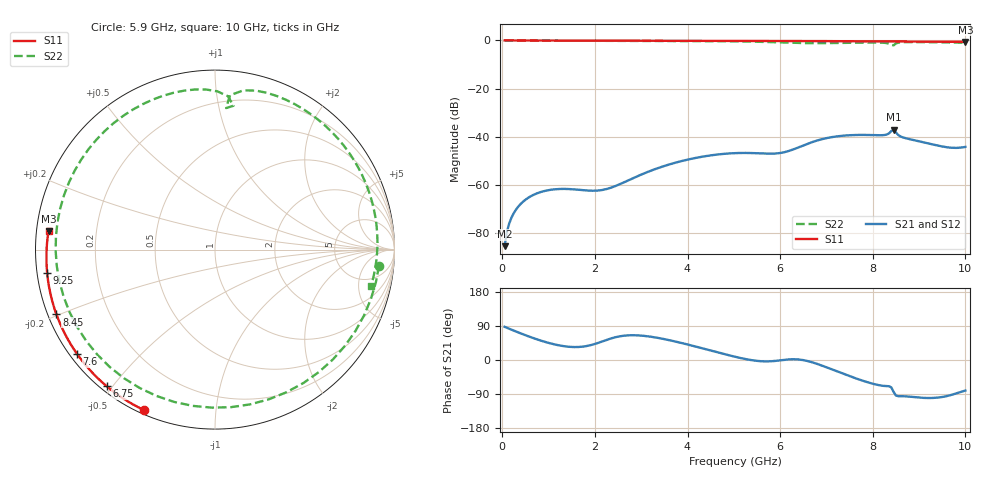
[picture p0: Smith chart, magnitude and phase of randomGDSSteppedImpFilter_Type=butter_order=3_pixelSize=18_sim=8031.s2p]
! freq	dB(S11)	phase(S11)	dB(S12)	phase(S12)
!  dB(S21)	phase(S21)	dB(S22)	phase(S22)
!S-par simulation data
#  GHz  S  DB  R 50
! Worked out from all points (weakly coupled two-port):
!   200 points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, 50 MHz to 10 GHz, reference 50 ohm
!   highest |S21| = -37.10 dB at 8.45 GHz (marker M1); lowest = -85.5 dB at 50 MHz (marker M2)
!   lowest |S11| = -0.6 dB at 10 GHz (marker M3), VSWR 28.99, Z = 1.73 + j2.8 ohm
!   |S11| at or under -10 dB: nowhere
!   |S22| runs from -2.0 to 0.0 dB; largest |S21 - S12| = 0
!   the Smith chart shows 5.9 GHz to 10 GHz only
!   S11 on the Smith chart (normalised r, x): 5.9 GHz: 0.02, -0.65; 6.75 GHz: 0.02, -0.48; 7.6 GHz: 0.02, -0.33; 8.45 GHz: 0.02, -0.20; 9.25 GHz: 0.03, -0.07; 10 GHz: 0.03, +0.06
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0.05  -0.00 -1.1  -85.53 87.5  -85.53 87.5  -0.00 -4.1
0.4  -0.01 -8.4  -67.91 70.1  -67.91 70.1  -0.04 -32.0
0.9  -0.02 -18.9  -62.63 48.6  -62.63 48.6  -0.08 -69.1
1.3  -0.03 -27.2  -61.72 37.0  -61.72 37.0  -0.10 -95.5
1.75  -0.05 -36.4  -62.26 35.4  -62.26 35.4  -0.12 -121.7
2.55  -0.07 -52.4  -59.66 62.8  -59.66 62.8  -0.14 -162.0
3.4  -0.09 -68.8  -52.82 57.5  -52.82 57.5  -0.18 159.4
4.35  -0.12 -86.5  -48.23 29.9  -48.23 29.9  -0.25 113.5
5.05  -0.15 -99.0  -46.83 7.9  -46.83 7.9  -0.37 71.1
5.45  -0.17 -106.1  -46.86 -1.6  -46.86 -1.6  -0.51 39.7
5.9  -0.20 -113.9  -47.01 -2.3  -47.01 -2.3  -0.74 -5.7
6.35  -0.23 -121.6  -44.80 1.9  -44.80 1.9  -1.02 -63.3
6.7  -0.25 -127.6  -42.20 -6.4  -42.20 -6.4  -1.13 -111.9
6.75  -0.25 -128.5  -41.88 -8.3  -41.88 -8.3  -1.13 -118.6
7.15  -0.28 -135.3  -40.08 -26.4  -40.08 -26.4  -1.06 -168.4
7.6  -0.32 -143.0  -39.32 -47.1  -39.32 -47.1  -0.93 146.0
8  -0.36 -149.9  -39.34 -62.6  -39.34 -62.6  -0.87 112.6
8.35  -0.40 -156.0  -38.65 -69.1  -38.65 -69.1  -1.33 85.2
8.45  -0.41 -157.7  -37.10 -84.3  -37.10 -84.3  -2.04 85.5
8.7  -0.43 -162.2  -40.59 -95.8  -40.59 -95.8  -0.70 67.9
9.25  -0.50 -172.2  -43.02 -100.3  -43.02 -100.3  -0.72 32.7
10  -0.60 173.6  -44.25 -80.5  -44.25 -80.5  -0.98 -13.0
